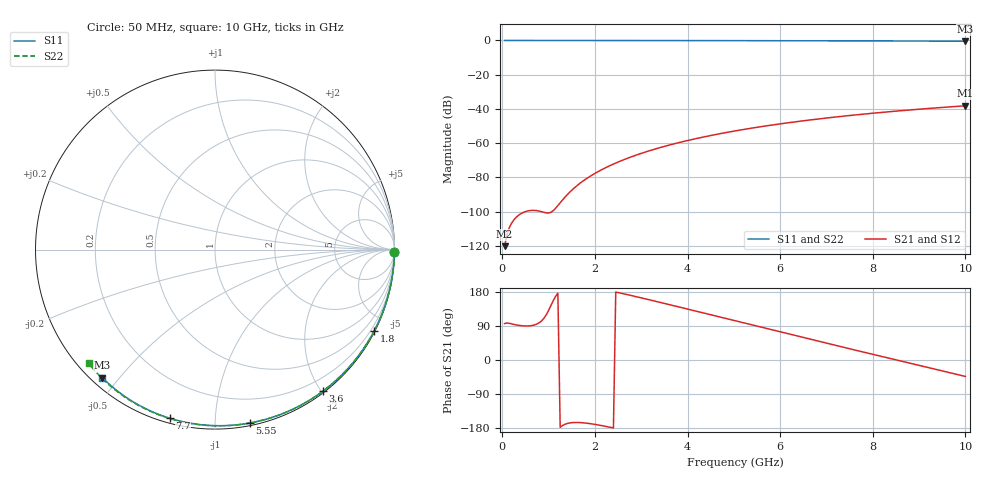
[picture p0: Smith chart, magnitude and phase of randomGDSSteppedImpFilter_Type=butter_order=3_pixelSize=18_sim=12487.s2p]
! freq	dB(S11)	phase(S11)	dB(S12)	phase(S12)
!  dB(S21)	phase(S21)	dB(S22)	phase(S22)
!S-par simulation data
#  GHz  S  DB  R 50
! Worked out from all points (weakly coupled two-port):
!   200 points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, 50 MHz to 10 GHz, reference 50 ohm
!   highest |S21| = -38.17 dB at 10 GHz (marker M1); lowest = -120.1 dB at 50 MHz (marker M2)
!   lowest |S11| = -0.4 dB at 10 GHz (marker M3), VSWR 39.03, Z = 1.54 - j22.6 ohm
!   |S11| at or under -10 dB: nowhere
!   |S22| runs from -0.5 to 0.0 dB; largest |S21 - S12| = 0
!   S11 on the Smith chart (normalised r, x): 50 MHz: open; 1.8 GHz: 0.04, -4.18; 3.6 GHz: 0.02, -2.02; 5.55 GHz: 0.02, -1.22; 7.7 GHz: 0.02, -0.77; 10 GHz: 0.03, -0.45
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0.05  -0.00 -0.8  -120.14 96.1  -120.14 96.1  -0.00 -0.8
0.45  -0.01 -6.8  -100.49 90.1  -100.49 90.1  -0.01 -7.2
0.9  -0.02 -13.6  -100.42 110.2  -100.42 110.2  -0.02 -14.3
1.75  -0.03 -26.2  -81.96 -165.8  -81.96 -165.8  -0.04 -27.5
1.8  -0.03 -26.9  -81.02 -166.4  -81.02 -166.4  -0.04 -28.3
1.85  -0.04 -27.7  -80.12 -167.2  -80.12 -167.2  -0.04 -29.1
2.15  -0.04 -32.0  -75.42 -173.2  -75.42 -173.2  -0.04 -33.7
2.35  -0.04 -34.9  -72.79 -178.1  -72.79 -178.1  -0.05 -36.7
2.55  -0.05 -37.8  -70.44 176.6  -70.44 176.6  -0.05 -39.7
2.95  -0.06 -43.5  -66.40 165.5  -66.40 165.5  -0.06 -45.7
3.4  -0.07 -49.9  -62.62 152.3  -62.62 152.3  -0.07 -52.4
3.6  -0.07 -52.7  -61.13 146.4  -61.13 146.4  -0.07 -55.3
3.9  -0.08 -56.8  -59.08 137.4  -59.08 137.4  -0.08 -59.6
4.3  -0.09 -62.2  -56.63 125.4  -56.63 125.4  -0.09 -65.3
5.05  -0.11 -72.2  -52.72 102.7  -52.72 102.7  -0.12 -75.7
5.55  -0.13 -78.7  -50.50 87.7  -50.50 87.7  -0.14 -82.5
6.1  -0.15 -85.6  -48.34 71.2  -48.34 71.2  -0.16 -89.8
6.7  -0.18 -93.0  -46.25 53.3  -46.25 53.3  -0.19 -97.5
7.7  -0.24 -105.0  -43.29 23.7  -43.29 23.7  -0.25 -110.1
8.35  -0.29 -112.6  -41.63 4.8  -41.63 4.8  -0.30 -118.1
9.2  -0.36 -122.4  -39.72 -20.0  -39.72 -20.0  -0.38 -128.4
10  -0.45 -131.4  -38.17 -43.4  -38.17 -43.4  -0.47 -138.0
